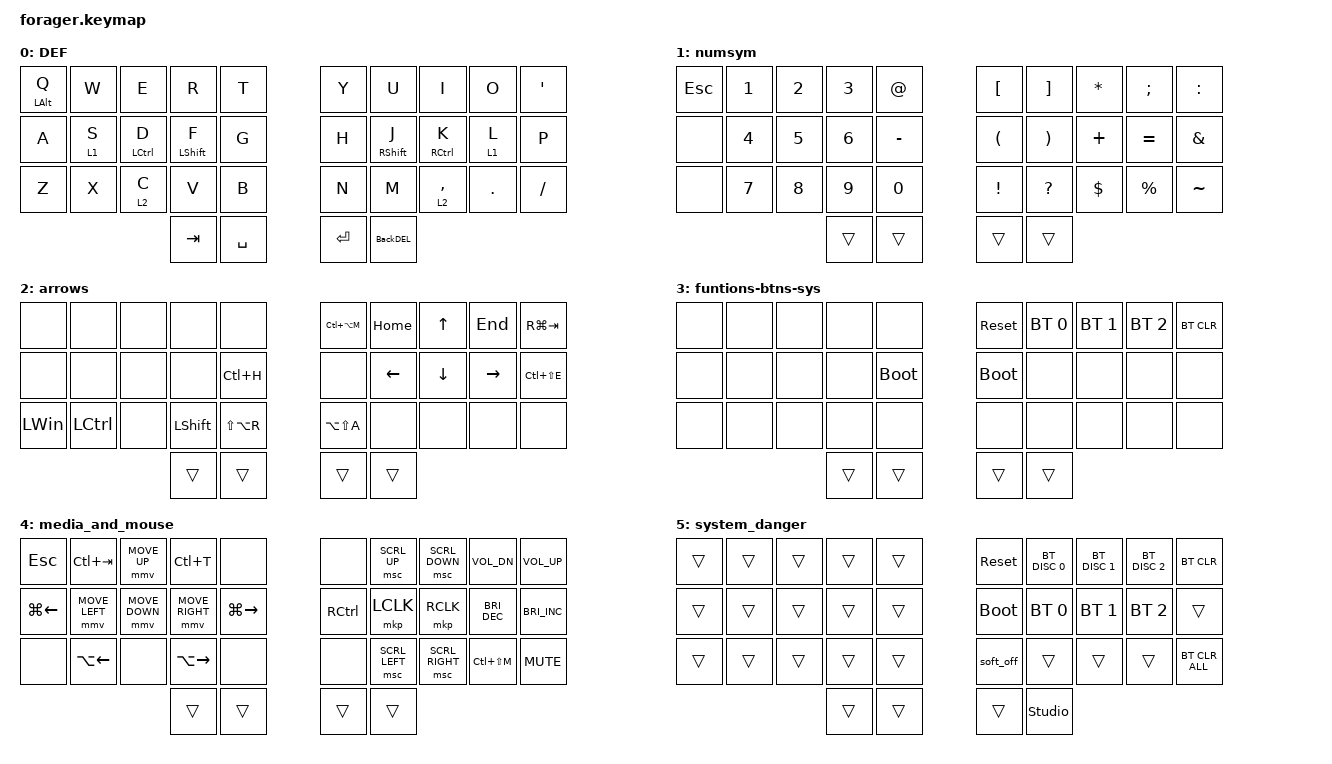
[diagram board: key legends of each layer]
#define ZMK_POINTING_DEFAULT_MOVE_VAL 1000  // default: 600
#define ZMK_POINTING_DEFAULT_SCRL_VAL 15    // default: 10

#include <behaviors.dtsi>
#include <dt-bindings/zmk/bt.h>
#include <dt-bindings/zmk/keys.h>
#include <dt-bindings/zmk/pointing.h>

#define BASE 0
#define NAV  1
#define SYM  2
#define ADJ  3

/*
 * Copyright (c) 2020 The ZMK Contributors
 *
 * SPDX-License-Identifier: MIT
 */

&lt {
    tapping-term-ms = <280>;
    flavor = "balanced";
    require-prior-idle-ms = <0>;
};

/ {
    combos {
        compatible = "zmk,combos";

        COMBTclear {
            bindings = <&bt BT_CLR_ALL>;
            key-positions = <0 9>;
            layers = <0 2>;
        };

        Ctrlaltdel {
            bindings = <&kp RC(RA(DELETE))>;
            key-positions = <8 9>;
            layers = <0>;
        };

        BTlayer {
            bindings = <&mo 3>;
            key-positions = <20 21>;
        };

        mousetoggle {
            bindings = <&to 4>;
            key-positions = <26 27>;
        };

        lock {
            bindings = <&kp RG(L)>;
            key-positions = <28 29>;
            require-prior-idle-ms = <300>;
        };

        Homelayer {
            bindings = <&to 0>;
            key-positions = <16 17>;
        };

        Ctrlback {
            bindings = <&kp LC(BACKSPACE)>;
            key-positions = <15 16>;
        };

        Closewindow {
            bindings = <&kp LA(RC(F4))>;
            key-positions = <1 2 3>;
        };
    };

    behaviors {
        BackDEL: BackDEL {
            compatible = "zmk,behavior-mod-morph";
            label = "BACKDEL";
            bindings = <&kp BACKSPACE>, <&kp DELETE>;

            #binding-cells = <0>;
            mods = <(MOD_LSFT)>;
        };

        LHRm: LHRm {
            compatible = "zmk,behavior-hold-tap";
            label = "LHRM";
            bindings = <&kp>, <&kp>;

            #binding-cells = <2>;
            tapping-term-ms = <280>;
            hold-trigger-key-positions = <5 6 7 8 9 15 16 17 18 19 25 26 27 28 29 32 33>;
            flavor = "balanced";
        };

        RHRm: RHRm {
            compatible = "zmk,behavior-hold-tap";
            label = "RHRM";
            bindings = <&kp>, <&kp>;

            #binding-cells = <2>;
            tapping-term-ms = <280>;
            hold-trigger-key-positions = <0 1 2 3 4 10 11 12 13 14 20 21 22 23 24 30 31>;
            flavor = "balanced";
        };

        AltHRM: AltHRM {
            compatible = "zmk,behavior-hold-tap";
            label = "ALTHRM";
            bindings = <&kp>, <&kp>;

            #binding-cells = <2>;
            tapping-term-ms = <280>;
            require-prior-idle-ms = <50>;
            hold-trigger-key-positions = <30>;
        };

        leftHRMctrl: leftHRMctrl {
            compatible = "zmk,behavior-hold-tap";
            label = "LEFTHRMCTRL";
            bindings = <&kp>, <&kp>;

            #binding-cells = <2>;
            tapping-term-ms = <280>;
            flavor = "tap-preferred";
            require-prior-idle-ms = <150>;
            hold-trigger-key-positions = <5 6 7 8 15 16 17 18 26 27 28 32 33 9 19 29>;
        };
    };

    keymap {
        compatible = "zmk,keymap";

        default_layer {
            label = "DEF";
            bindings = <
  &AltHRM LEFT_ALT Q  &kp W    &kp E                        &kp R               &kp T        &kp Y      &kp U                &kp I                  &kp O       &kp SQT
  &kp A               &lt 1 S  &leftHRMctrl LEFT_CONTROL D  &LHRm LEFT_SHIFT F  &kp G        &kp H      &RHRm RIGHT_SHIFT J  &RHRm RIGHT_CONTROL K  &lt 1 L     &kp P
  &kp Z               &kp X    &lt 2 C                      &kp V               &kp B        &kp N      &kp M                &lt 2 COMMA            &kp PERIOD  &kp SLASH
                                                            &kp TAB             &kp SPACE    &kp ENTER  &BackDEL
            >;
        };

        numsym {
            bindings = <
  &kp ESCAPE  &kp NUMBER_1  &kp NUMBER_2  &kp NUMBER_3  &kp AT_SIGN     &kp LEFT_BRACKET      &kp RIGHT_BRACKET      &kp ASTRK   &kp SEMI     &kp COLON
  &none       &kp NUMBER_4  &kp N5        &kp NUMBER_6  &kp MINUS       &kp LEFT_PARENTHESIS  &kp RIGHT_PARENTHESIS  &kp PLUS    &kp EQUAL    &kp AMPS
  &none       &kp N7        &kp NUMBER_8  &kp NUMBER_9  &kp NUMBER_0    &kp EXCLAMATION       &kp QUESTION           &kp DOLLAR  &kp PERCENT  &kp TILDE
                                          &trans        &trans          &trans                &trans
            >;
        };

        arrows {
            bindings = <
  &none         &none             &none  &none           &none            &kp LC(LA(M))  &kp HOME        &kp UP_ARROW  &kp END    &kp RG(TAB)
  &none         &none             &none  &none           &kp LC(H)        &none          &kp LEFT_ARROW  &kp DOWN      &kp RIGHT  &kp LC(LS(E))
  &kp LEFT_WIN  &kp LEFT_CONTROL  &none  &kp LEFT_SHIFT  &kp LS(LA(R))    &kp LA(LS(A))  &none           &none         &none      &none
                                         &trans          &trans           &trans         &trans
            >;
        };

        funtions-btns-sys {
            bindings = <
  &none  &none  &none  &none   &none          &sys_reset   &bt BT_SEL 0  &bt BT_SEL 1  &bt BT_SEL 2  &bt BT_CLR
  &none  &none  &none  &none   &bootloader    &bootloader  &none         &none         &none         &none
  &none  &none  &none  &none   &none          &none        &none         &none         &none         &none
                       &trans  &trans         &trans       &trans
            >;
        };

        media_and_mouse {
            bindings = <
  &kp ESCAPE    &kp LC(TAB)     &mmv MOVE_UP    &kp LC(T)        &none            &none              &msc SCRL_UP    &msc SCRL_DOWN   &kp C_VOL_DN          &kp C_VOL_UP
  &kp LG(LEFT)  &mmv MOVE_LEFT  &mmv MOVE_DOWN  &mmv MOVE_RIGHT  &kp LG(RIGHT)    &kp RIGHT_CONTROL  &mkp LCLK       &mkp RCLK        &kp C_BRIGHTNESS_DEC  &kp C_BRIGHTNESS_INC
  &none         &kp LA(LEFT)    &none           &kp LA(RIGHT)    &none            &none              &msc SCRL_LEFT  &msc SCRL_RIGHT  &kp LC(LS(M))         &kp K_MUTE
                                                &trans           &trans           &trans             &trans
            >;
        };

        system_danger {
            bindings = <
  &trans  &trans  &trans  &trans  &trans    &sys_reset   &bt BT_DISC 0   &bt BT_DISC 1  &bt BT_DISC 2  &bt BT_CLR
  &trans  &trans  &trans  &trans  &trans    &bootloader  &bt BT_SEL 0    &bt BT_SEL 1   &bt BT_SEL 2   &trans
  &trans  &trans  &trans  &trans  &trans    &soft_off    &trans          &trans         &trans         &bt BT_CLR_ALL
                          &trans  &trans    &trans       &studio_unlock
            >;
        };
    };
};
